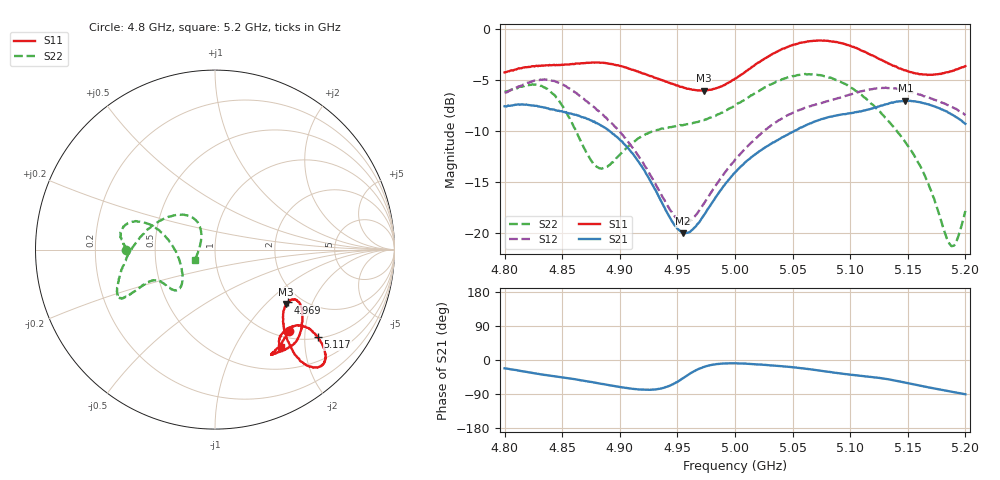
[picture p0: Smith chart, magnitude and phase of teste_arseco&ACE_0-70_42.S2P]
! Network Analyzer HP8722D
! Hewlett-Packard
! Data name: Linha & Wilkinson
! Saver's name: Rodrigo Anjos
! Comments: Teste da utilização de aquisição
! continua pelo VNA HP8722D
! Time and date: 8/5/2025 13:06
!  Frequency  S11  S21  S12  S22
# HZ  S  MA R 50
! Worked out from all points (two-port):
!   401 points, 4.8 GHz to 5.2 GHz, reference 50 ohm
!   highest |S21| = -7.04 dB at 5.148 GHz (marker M1); lowest = -20.0 dB at 4.955 GHz (marker M2)
!   |S21| within 3 dB of the highest: start of sweep to 4.891 GHz; 5.051 GHz to end of sweep
!   lowest |S11| = -6.0 dB at 4.973 GHz (marker M3), VSWR 2.99, Z = 82.5 - j66.4 ohm
!   |S11| at or under -10 dB: nowhere
!   |S22| runs from -21.3 to -4.4 dB; largest |S21 - S12| = 0.95
!   S11 on the Smith chart (normalised r, x): 4.8 GHz: 1.13, -1.65; 4.969 GHz: 1.70, -1.34; 5.117 GHz: 1.04, -2.33; 5.2 GHz: 0.82, -1.57
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4.8e9  0.6133 -47.7  0.4183 -22.0  0.488 -175.9  0.4943 -180.0
4.824e9  0.657 -59.4  0.4216 -34.1  0.5544 175.1  0.5358 169.8
4.837e9  0.6647 -61.6  0.4085 -40.5  0.5638 167.4  0.5091 163.4
4.852e9  0.67 -59.8  0.3921 -46.6  0.5283 157.9  0.4029 159.0
4.867e9  0.6802 -54.8  0.3698 -53.8  0.4617 150.7  0.2754 166.8
4.886e9  0.6826 -48.4  0.331 -63.7  0.3768 144.1  0.2088 -158.3
4.911e9  0.6319 -39.7  0.246 -75.8  0.2624 137.5  0.2776 -133.0
4.934e9  0.5687 -33.1  0.15 -76.3  0.1619 141.0  0.3212 -135.5
4.955e9  0.5178 -32.4  0.09979 -47.8  0.1124 170.4  0.338 -144.1
4.969e9  0.5007 -36.0  0.113 -22.9  0.129 -165.0  0.3531 -149.8
4.973e9  0.499 -37.3  0.1222 -18.5  0.1393 -160.2  0.3575 -151.0
5e9  0.5714 -47.9  0.198 -8.9  0.2285 -146.9  0.4222 -153.9
5.039e9  0.7874 -52.5  0.2897 -16.0  0.3591 -148.0  0.5609 -152.0
5.067e9  0.8735 -48.4  0.3477 -25.1  0.422 -154.5  0.5996 -154.9
5.096e9  0.8422 -43.2  0.383 -37.3  0.4702 -162.8  0.5363 -167.1
5.117e9  0.752 -40.2  0.4046 -44.1  0.5058 -172.6  0.4383 174.4
5.134e9  0.6746 -40.3  0.4327 -51.6  0.5139 177.1  0.3498 153.1
5.148e9  0.628 -42.5  0.4449 -59.8  0.5002 169.2  0.2784 135.6
5.165e9  0.598 -47.9  0.4314 -70.5  0.468 161.4  0.1899 122.8
5.187e9  0.6204 -54.8  0.3846 -83.2  0.4185 153.7  0.08728 158.4
5.192e9  0.6336 -55.6  0.3697 -85.9  0.4059 151.9  0.09012 -178.7
5.2e9  0.6582 -55.8  0.343 -90.4  0.3781 149.4  0.1282 -152.4
